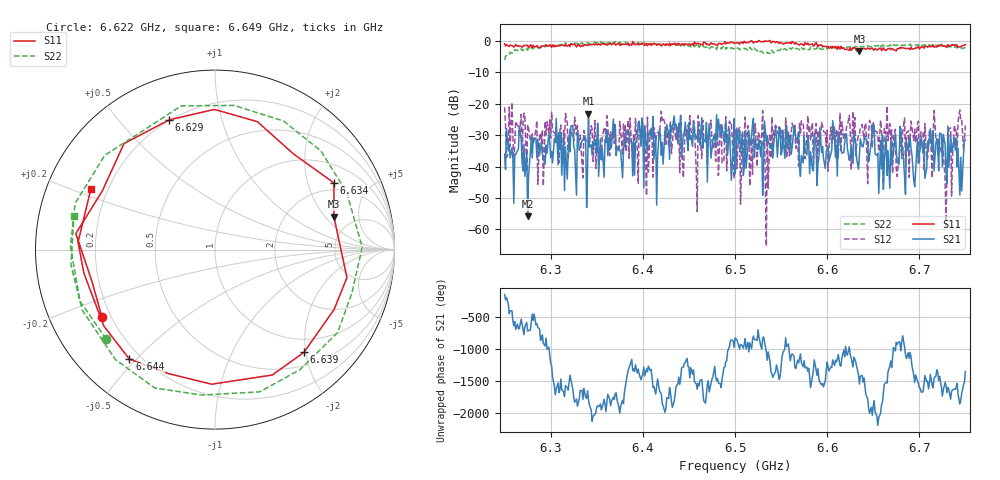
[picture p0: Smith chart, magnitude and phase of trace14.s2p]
# Hz S RI R 50
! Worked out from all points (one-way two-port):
!   401 points, 6.25 GHz to 6.75 GHz, reference 50 ohm
!   highest |S21| = -23.12 dB at 6.341 GHz (marker M1); lowest = -55.8 dB at 6.275 GHz (marker M2)
!   lowest |S11| = -3.3 dB at 6.635 GHz (marker M3), VSWR 5.40, Z = 178 + j124 ohm
!   |S11| at or under -10 dB: nowhere
!   |S22| runs from -6.0 to -0.1 dB; largest |S21 - S12| = 0.11
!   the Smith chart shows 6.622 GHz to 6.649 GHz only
!   S11 on the Smith chart (normalised r, x): 6.622 GHz: 0.16, -0.27; 6.629 GHz: 0.20, +0.69; 6.634 GHz: 1.68, +2.95; 6.639 GHz: 0.73, -1.97; 6.644 GHz: 0.16, -0.48; 6.649 GHz: 0.14, +0.23
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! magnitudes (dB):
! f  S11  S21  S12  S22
! 6.25 GHz  -0.9  -36.0  -21.1  -6.0
! 6.275 GHz  -1.5  -55.8  -26.7  -3.0
! 6.281 GHz  -1.3  -31.1  -32.9  -2.5
! 6.334 GHz  -1.4  -31.8  -39.2  -0.5
! 6.341 GHz  -1.2  -23.1  -31.7  -0.8
! 6.398 GHz  -1.0  -33.6  -30.8  -1.0
! 6.418 GHz  -1.0  -28.1  -29.9  -1.2
! 6.432 GHz  -0.9  -27.8  -32.7  -0.9
! 6.5 GHz  -0.7  -42.4  -39.2  -2.5
! 6.584 GHz  -1.0  -40.9  -26.0  -2.2
! 6.622 GHz  -2.7  -34.2  -27.0  -2.1
! 6.629 GHz  -2.3  -29.4  -29.3  -2.2
! 6.634 GHz  -2.4  -40.8  -30.0  -1.9
! 6.635 GHz  -3.3  -36.5  -29.9  -1.9
! 6.639 GHz  -2.4  -33.6  -29.2  -1.7
! 6.644 GHz  -2.2  -32.3  -45.4  -1.5
! 6.649 GHz  -2.3  -26.5  -34.0  -1.9
! 6.668 GHz  -2.3  -46.9  -26.4  -1.3
! 6.674 GHz  -3.0  -29.4  -28.1  -1.4
! 6.719 GHz  -1.9  -31.3  -30.9  -1.6
! 6.729 GHz  -1.6  -41.7  -59.0  -1.9
! 6.75 GHz  -1.2  -31.4  -26.9  -2.4
